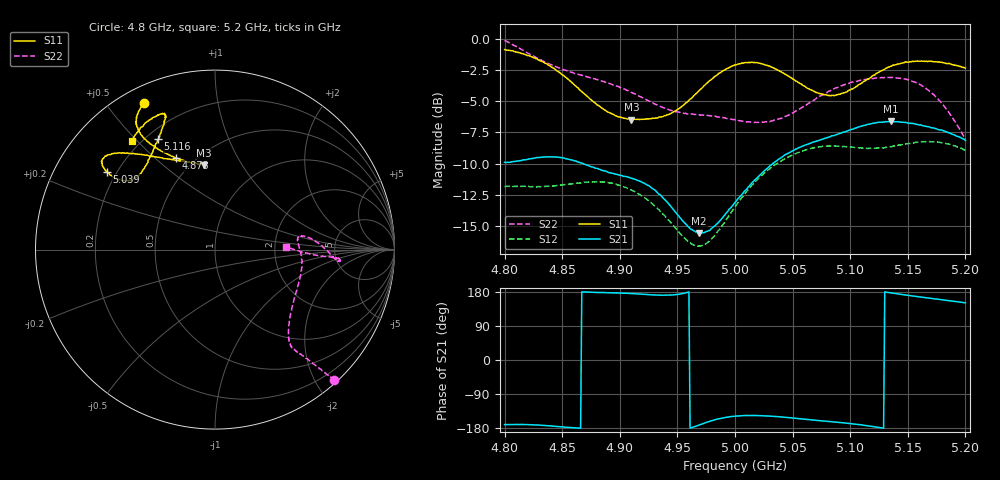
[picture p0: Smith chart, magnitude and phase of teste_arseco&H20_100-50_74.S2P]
! Network Analyzer HP8722D
! Hewlett-Packard
! Data name: Linha & Wilkinson
! Saver's name: Rodrigo Anjos
! Comments: Teste da utilização de aquisição
! continua pelo VNA HP8722D
! Time and date: 6/5/2025 13:11
!  Frequency  S11  S21  S12  S22
# HZ  S  MA R 50
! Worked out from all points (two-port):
!   401 points, 4.8 GHz to 5.2 GHz, reference 50 ohm
!   highest |S21| = -6.62 dB at 5.135 GHz (marker M1); lowest = -15.5 dB at 4.969 GHz (marker M2)
!   |S21| within 3 dB of the highest: 4.821 GHz to 4.854 GHz (33.32 MHz wide, 0.689 % of centre); 5.038 GHz to end of sweep
!   lowest |S11| = -6.5 dB at 4.91 GHz (marker M3), VSWR 2.81, Z = 28.6 + j34.8 ohm
!   |S11| at or under -10 dB: nowhere
!   |S22| runs from -8.0 to -0.1 dB; largest |S21 - S12| = 0.83
!   S11 on the Smith chart (normalised r, x): 4.8 GHz: 0.07, +0.62; 4.878 GHz: 0.40, +0.59; 5.039 GHz: 0.16, +0.32; 5.116 GHz: 0.25, +0.58; 5.2 GHz: 0.17, +0.48
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4.8e9  0.9053 115.9  0.3205 -170.5  0.2565 -86.1  0.9847 -47.6
4.819e9  0.8612 120.4  0.3286 -170.5  0.2554 -81.8  0.8813 -48.8
4.835e9  0.7995 122.5  0.3364 -173.0  0.2566 -76.6  0.8074 -49.7
4.867e9  0.6142 117.9  0.3178 179.8  0.2654 -67.4  0.7148 -51.5
4.878e9  0.556 113.1  0.3048 178.4  0.2674 -66.0  0.692 -51.9
4.91e9  0.4752 97.6  0.2765 175.4  0.248 -67.7  0.6103 -47.9
4.934e9  0.4865 99.2  0.2387 171.0  0.2073 -69.4  0.5386 -37.5
4.949e9  0.5172 108.7  0.2008 172.8  0.1733 -66.0  0.5105 -27.8
4.969e9  0.621 123.4  0.1672 -171.2  0.1479 -47.8  0.4968 -15.0
4.981e9  0.6965 130.0  0.1764 -159.2  0.1606 -33.9  0.489 -8.7
5e9  0.7857 137.3  0.221 -148.3  0.2125 -21.5  0.4738 -0.3
5.019e9  0.803 141.7  0.2771 -146.7  0.2717 -18.3  0.4627 5.9
5.039e9  0.741 144.2  0.3318 -150.0  0.3221 -18.2  0.4789 9.0
5.067e9  0.6218 142.0  0.3848 -158.1  0.3652 -20.5  0.5622 4.6
5.088e9  0.5961 133.0  0.4133 -163.9  0.3716 -23.7  0.6366 -1.7
5.116e9  0.6916 117.2  0.4548 -174.1  0.3643 -26.7  0.6906 -5.4
5.134e9  0.7715 111.3  0.4656 177.9  0.3698 -28.7  0.7009 -4.8
5.135e9  0.7761 111.1  0.4667 177.4  0.37 -28.7  0.6995 -4.7
5.15e9  0.8061 110.4  0.4601 170.6  0.3801 -31.9  0.6855 -4.0
5.164e9  0.8136 113.4  0.4483 165.1  0.3878 -36.0  0.6425 -3.6
5.181e9  0.8017 119.4  0.428 158.5  0.3828 -41.3  0.5416 -2.9
5.2e9  0.7633 127.3  0.3918 150.8  0.358 -46.3  0.3969 2.5
